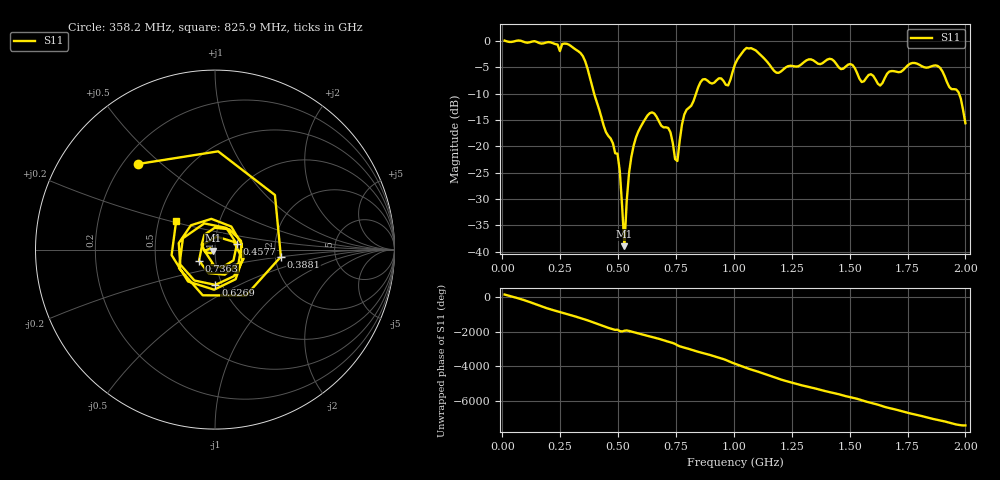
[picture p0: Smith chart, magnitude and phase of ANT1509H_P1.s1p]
!Created with skrf (http://scikit-rf.org).
# Hz S RI R 50.0
!freq ReS11 ImS11
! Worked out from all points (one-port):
!   201 points, 10 MHz to 2 GHz, reference 50 ohm
!   lowest |S11| = -38.9 dB at 527.4 MHz (marker M1), VSWR 1.02, Z = 49 - j0.495 ohm
!   |S11| at or under -10 dB: 396.7 MHz to 836.5 MHz (439.8 MHz wide, 71.3 % of centre); 1.973 GHz to end of sweep
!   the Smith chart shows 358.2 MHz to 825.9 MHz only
!   S11 on the Smith chart (normalised r, x): 358.2 MHz: 0.26, +0.42; 388.1 MHz: 2.15, -0.20; 457.8 MHz: 1.28, +0.08; 626.9 MHz: 0.93, -0.38; 736.4 MHz: 0.83, -0.10; 825.9 MHz: 0.62, +0.21
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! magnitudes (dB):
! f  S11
! 10 MHz  0.1
! 258.8 MHz  -0.5
! 358.2 MHz  -3.9
! 388.1 MHz  -8.7
! 457.8 MHz  -18.0
! 497.6 MHz  -21.4
! 507.5 MHz  -24.7
! 527.4 MHz  -38.9
! 537.4 MHz  -30.4
! 557.2 MHz  -22.0
! 626.9 MHz  -14.1
! 716.5 MHz  -16.5
! 736.4 MHz  -19.3
! 756.2 MHz  -22.8
! 786.1 MHz  -13.9
! 825.9 MHz  -11.4
! 865.7 MHz  -7.3
! 975.1 MHz  -8.4
! 1.005 GHz  -4.4
! 1.055 GHz  -1.3
! 1.184 GHz  -6.0
! 1.254 GHz  -4.7
! 1.502 GHz  -4.3
! 1.632 GHz  -8.4
! 1.751 GHz  -4.6
! 1.891 GHz  -5.1
! 1.97 GHz  -9.7
! 2 GHz  -15.6
